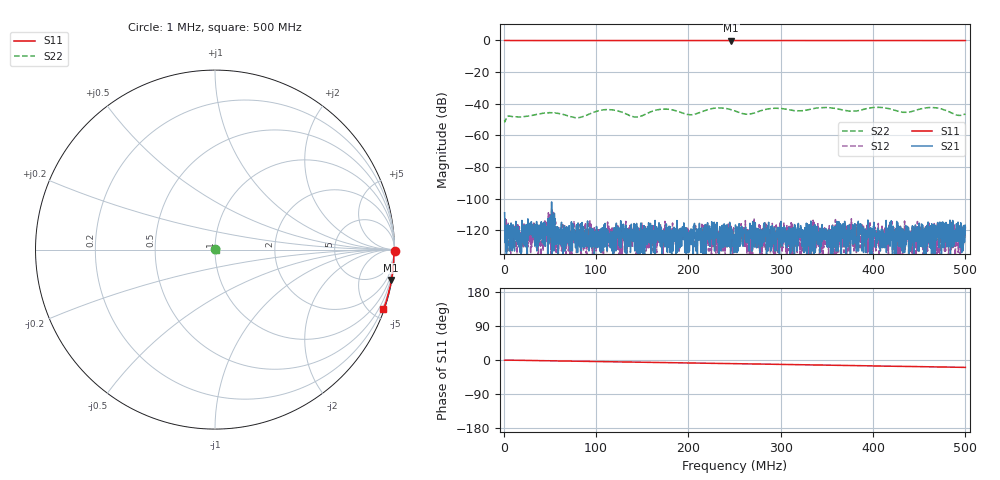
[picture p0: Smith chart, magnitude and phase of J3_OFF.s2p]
! MS46122B
! 1746301/73750021
! 8/7/2023 2:28:51 PM
! C:\USERS\SPEGWAL\DOWNLOADS\SAURABH\REACH\NODES\FRONT END\MEASUREMENTS\MEASURED SWITCH S-PARAMETER_28-07-2023\MS-3\J3_OFF.S2P
! CHANNEL.1
! TR.MEASUREMENT
! CORRECTED.DATA
# GHZ S RI R 50.0
! FREQ.GHZ  S11RE  S11IM  S21RE  S21IM  S12RE  S12IM  S22RE  S22IM
!; PortSelection: Port_12
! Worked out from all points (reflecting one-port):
!   2001 points, 1 MHz to 500 MHz, reference 50 ohm
!   lowest |S11| = 0.0 dB at 246.3 MHz (marker M1), VSWR 447.62, Z = 15.4 - j585 ohm
!   phase of S11 starts at -0 deg and turns -19 deg over the sweep
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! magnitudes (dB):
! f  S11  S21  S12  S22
! 1 MHz  0.0  -108.9  -120.9  -50.3
! 6.239 MHz  0.0  -133.0  -122.1  -47.7
! 48.41 MHz  0.0  -118.9  -108.9  -45.6
! 84.33 MHz  0.0  -119.0  -128.9  -48.4
! 112.8 MHz  0.0  -127.7  -121.0  -43.6
! 144.7 MHz  0.0  -118.3  -117.7  -48.4
! 167.4 MHz  0.0  -126.0  -125.4  -43.7
! 202.6 MHz  0.0  -122.8  -119.2  -46.9
! 228.3 MHz  0.0  -133.0  -130.0  -42.8
! 246.3 MHz  0.0  -118.3  -117.4  -43.7
! 250.5 MHz  0.0  -124.4  -125.4  -44.5
! 264.2 MHz  0.0  -127.7  -120.5  -46.7
! 290.9 MHz  0.0  -117.1  -115.6  -42.9
! 333.8 MHz  0.0  -125.9  -127.0  -43.2
! 351.5 MHz  0.0  -128.9  -119.6  -42.3
! 377.2 MHz  0.0  -125.4  -124.7  -44.7
! 400.9 MHz  0.0  -114.9  -115.8  -42.3
! 416.9 MHz  0.0  -120.5  -119.0  -43.0
! 435.6 MHz  0.0  -121.9  -121.7  -45.4
! 465.6 MHz  0.0  -127.7  -119.7  -42.4
! 491.5 MHz  0.0  -120.5  -125.9  -47.2
! 500 MHz  0.0  -118.3  -124.0  -46.3
